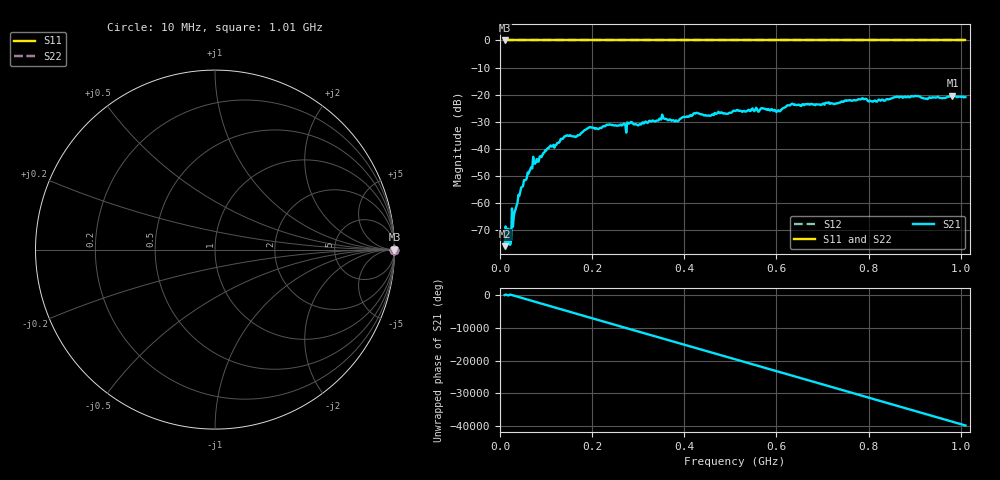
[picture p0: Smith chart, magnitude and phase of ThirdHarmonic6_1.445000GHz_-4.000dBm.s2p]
! 8/16/2025 4:43:26 PM
! C:\ANRITSUVNA\TEMP\TEMP.S2P
! CHANNEL.1
! TR.MEASUREMENT
! RAW.DATA
! RF.CORRECTION.OFF
! AVERAGING.OFF
! IF.BANDWIDTH: 5KHZ
! SWEEPTYPE:  FREQ.SWEEP(Linear)
! Reference Plane Port Info
! PORT:  PORT1  PORT2
! DISTANCE:  0  m  0  m
! TIME:  0  s  0  s
! PHASE.OFFSET:  0  deg.  0  deg.
! LOSS:  0  dB  0  dB
! REF.LOSS:  0  dB  0  dB
! REF.FREQ:  0  Hz  0  Hz
! Power Info
! POWER:  -20  dBm  -20  dBm
! EFF.POWER:  -20  dBm  -20  dBm
! SOURCE.ATTEN:  0  dB  0  dB
! TEST.ATTEN:  0  dB  0  dB
# GHZ S RI R 50.0
! FREQ.GHZ  S11RE  S11IM  S21RE  S21IM  S12RE  S12IM  S22RE  S22IM
!; PortSelection: Port_12
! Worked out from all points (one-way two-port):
!   501 points, 10 MHz to 1.01 GHz, reference 50 ohm
!   highest |S21| = -20.46 dB at 982 MHz (marker M1); lowest = -76.1 dB at 10 MHz (marker M2)
!   lowest |S11| = 0.0 dB at 10 MHz (marker M3)
!   |S11| at or under -10 dB: nowhere
!   |S22| runs from 0.0 to 0.0 dB; largest |S21 - S12| = 1.1
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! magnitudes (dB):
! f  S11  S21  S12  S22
! 10 MHz  0.0  -76.1  0.0  0.0
! 16 MHz  0.0  -75.5  0.0  0.0
! 20 MHz  0.0  -69.9  0.0  0.0
! 22 MHz  0.0  -75.6  0.0  0.0
! 26 MHz  0.0  -62.1  0.0  0.0
! 30 MHz  0.0  -64.9  0.0  0.0
! 44 MHz  0.0  -55.9  0.0  0.0
! 76 MHz  0.0  -45.6  0.0  0.0
! 142 MHz  0.0  -35.4  0.0  0.0
! 178 MHz  0.0  -34.1  0.0  0.0
! 196 MHz  0.0  -32.0  0.0  0.0
! 344 MHz  0.0  -29.6  0.0  0.0
! 384 MHz  0.0  -29.8  0.0  0.0
! 424 MHz  0.0  -27.0  0.0  0.0
! 454 MHz  0.0  -27.8  0.0  0.0
! 510 MHz  0.0  -26.1  0.0  0.0
! 604 MHz  0.0  -25.8  0.0  0.0
! 632 MHz  0.0  -23.6  0.0  0.0
! 678 MHz  0.0  -23.6  0.0  0.0
! 844 MHz  0.0  -21.8  0.0  0.0
! 982 MHz  0.0  -20.5  0.0  0.0
! 1.01 GHz  0.0  -21.0  0.0  0.0
